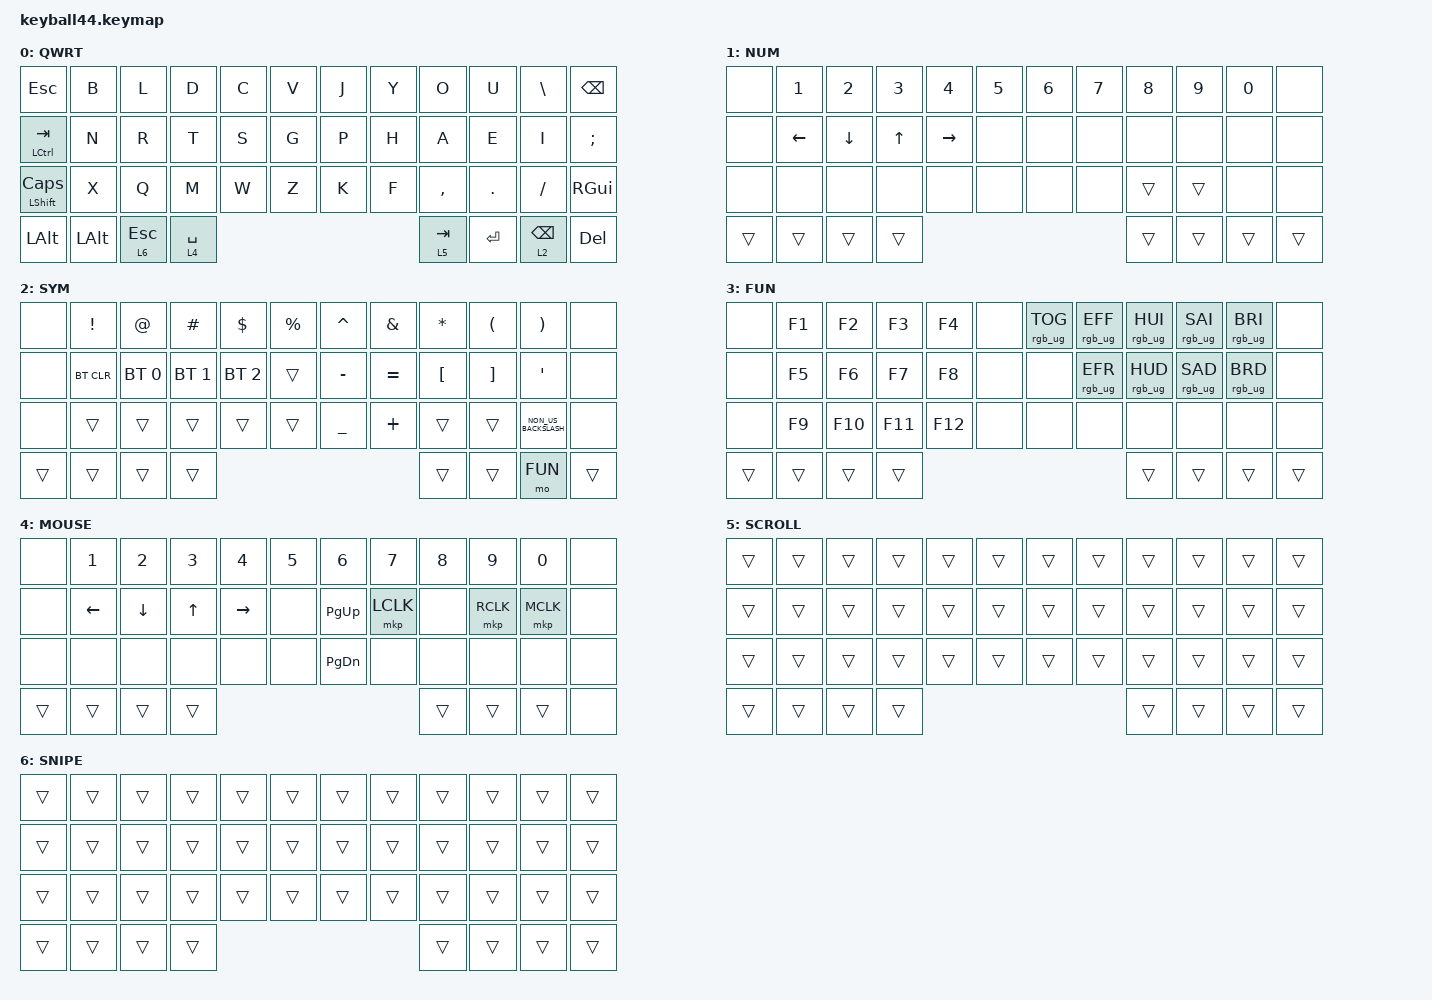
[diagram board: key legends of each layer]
#define DEFAULT 0
#define NUM     1
#define SYM     2
#define FUN     3
#define MOUSE   4
#define SCROLL  5
#define SNIPE   6

#include <behaviors/mouse_keys.dtsi>
#include <dt-bindings/zmk/mouse.h>
#include <behaviors.dtsi>
#include <dt-bindings/zmk/bt.h>
#include <dt-bindings/zmk/keys.h>
#include <dt-bindings/zmk/pointing.h>
#include <dt-bindings/zmk/rgb.h>

&lt {
    tapping-term-ms = <240>;
    flavor = "balanced";
    quick-tap-ms = <150>;
};

&mt {
    tapping-term-ms = <200>;
    flavor = "tap-preferred";
    quick-tap-ms = <150>;
};

&caps_word { continue-list = <UNDERSCORE MINUS>; };

/ {
    // custom shift using mod-morph 

    behaviors {
        cmqus: comma_question {
            compatible = "zmk,behavior-mod-morph";
            label = "COMMA_QUESTION";
            #binding-cells = <0>;
            bindings = <&kp COMMA>, <&kp QUESTION>;

            mods = <(MOD_LSFT|MOD_RSFT)>;
        };

        dtsmi: dot_semi {
            compatible = "zmk,behavior-mod-morph";
            label = "DOT_SEMI";
            #binding-cells = <0>;
            bindings = <&kp DOT>, <&kp SEMI>;

            mods = <(MOD_LSFT|MOD_RSFT)>;
        };
    };

    combos {
        compatible = "zmk,combos";

        copy {
            bindings = <&kp K_COPY>;
            key-positions = <3 4>;
        };

        paste {
            bindings = <&kp K_PASTE>;
            key-positions = <4 5>;
        };
    };

    keymap {
        compatible = "zmk,keymap";

        default_layer {
            label = "QWRT";
            bindings = <
&kp ESCAPE               &kp B     &kp L         &kp D        &kp C      &kp V                 &kp J            &kp Y  &kp O      &kp U    &kp BACKSLASH  &kp BACKSPACE
&mt LCTRL TAB            &kp N     &kp R         &kp T        &kp S      &kp G                 &kp P            &kp H  &kp A      &kp E    &kp I          &kp SEMICOLON
&mt LEFT_SHIFT CAPSLOCK  &kp X     &kp Q         &kp M        &kp W      &kp Z                 &kp K            &kp F  &kp COMMA  &kp DOT  &kp SLASH      &kp RIGHT_GUI
&kp LEFT_ALT             &kp LALT  &lt 6 ESCAPE  &lt 4 SPACE  &lt 5 TAB             &kp ENTER  &lt 2 BACKSPACE                                            &kp DELETE
            >;
        };

        number_layer {
            label = "NUM";
            bindings = <
&none   &kp NUMBER_1  &kp NUMBER_2  &kp NUMBER_3  &kp NUMBER_4  &kp NUMBER_5              &kp NUMBER_6  &kp NUMBER_7  &kp NUMBER_8  &kp NUMBER_9  &kp NUMBER_0  &none
&none   &kp LEFT      &kp DOWN      &kp UP_ARROW  &kp RIGHT     &none                     &none         &none         &none         &none         &none         &none
&none   &none         &none         &none         &none         &none                     &none         &none         &trans        &trans        &none         &none
&trans  &trans        &trans        &trans        &trans                          &trans  &trans                                                                &trans
            >;
        };

        symbol_layer {
            label = "SYM";
            bindings = <
&none   &kp EXCLAMATION  &kp AT_SIGN   &kp HASH      &kp DOLLAR    &kp PERCENT              &kp CARET       &kp AMPERSAND  &kp ASTERISK      &kp LEFT_PARENTHESIS  &kp RIGHT_PARENTHESIS  &none
&none   &bt BT_CLR       &bt BT_SEL 0  &bt BT_SEL 1  &bt BT_SEL 2  &trans                   &kp MINUS       &kp EQUAL      &kp LEFT_BRACKET  &kp RIGHT_BRACKET     &kp SQT                &none
&none   &trans           &trans        &trans        &trans        &trans                   &kp UNDERSCORE  &kp PLUS       &trans            &trans                &kp NON_US_BACKSLASH   &none
&trans  &trans           &trans        &trans        &trans                         &trans  &mo FUN                                                                                       &trans
            >;
        };

        function_layer {
            label = "FUN";
            bindings = <
&none   &kp F1  &kp F2   &kp F3   &kp F4   &none              &rgb_ug RGB_TOG  &rgb_ug RGB_EFF  &rgb_ug RGB_HUI  &rgb_ug RGB_SAI  &rgb_ug RGB_BRI  &none
&none   &kp F5  &kp F6   &kp F7   &kp F8   &none              &none            &rgb_ug RGB_EFR  &rgb_ug RGB_HUD  &rgb_ug RGB_SAD  &rgb_ug RGB_BRD  &none
&none   &kp F9  &kp F10  &kp F11  &kp F12  &none              &none            &none            &none            &none            &none            &none
&trans  &trans  &trans   &trans   &trans              &trans  &trans                                                                               &trans
            >;
        };

        mouse_layer {
            label = "MOUSE";
            bindings = <
&none   &kp N1          &kp N2          &kp N3        &kp N4     &kp N5              &kp N6         &kp N7     &kp N8  &kp N9     &kp N0     &none
&none   &kp LEFT_ARROW  &kp DOWN_ARROW  &kp UP_ARROW  &kp RIGHT  &none               &kp PAGE_UP    &mkp LCLK  &none   &mkp RCLK  &mkp MCLK  &none
&none   &none           &none           &none         &none      &none               &kp PAGE_DOWN  &none      &none   &none      &none      &none
&trans  &trans          &trans          &trans        &trans                 &trans  &trans                                                  &none
            >;
        };

        scroll_layer {
            label = "SCROLL";
            bindings = <
&trans  &trans  &trans  &trans  &trans  &trans              &trans  &trans  &trans  &trans  &trans  &trans
&trans  &trans  &trans  &trans  &trans  &trans              &trans  &trans  &trans  &trans  &trans  &trans
&trans  &trans  &trans  &trans  &trans  &trans              &trans  &trans  &trans  &trans  &trans  &trans
&trans  &trans  &trans  &trans  &trans              &trans  &trans                                  &trans
            >;
        };

        snipe_layer {
            label = "SNIPE";
            bindings = <
&trans  &trans  &trans  &trans  &trans  &trans              &trans  &trans  &trans  &trans  &trans  &trans
&trans  &trans  &trans  &trans  &trans  &trans              &trans  &trans  &trans  &trans  &trans  &trans
&trans  &trans  &trans  &trans  &trans  &trans              &trans  &trans  &trans  &trans  &trans  &trans
&trans  &trans  &trans  &trans  &trans              &trans  &trans                                  &trans
            >;
        };
    };
};
